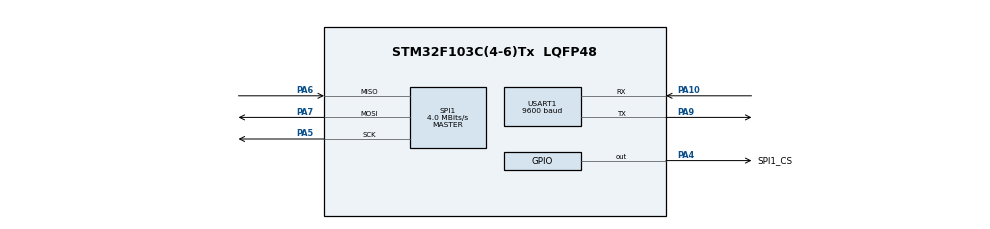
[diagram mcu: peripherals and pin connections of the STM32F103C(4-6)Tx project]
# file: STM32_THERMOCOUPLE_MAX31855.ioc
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Mcu.Family=STM32F1
Mcu.Name=STM32F103C(4-6)Tx
Mcu.Package=LQFP48
NVIC.PriorityGroup=NVIC_PRIORITYGROUP_4
PA10.Mode=Asynchronous
PA10.Signal=USART1_RX
PA4.GPIO_Label=SPI1_CS
PA4.Signal=GPIO_Output
PA5.Mode=Full_Duplex_Master
PA5.Signal=SPI1_SCK
PA6.Mode=Full_Duplex_Master
PA6.Signal=SPI1_MISO
PA7.Mode=Full_Duplex_Master
PA7.Signal=SPI1_MOSI
PA9.Mode=Asynchronous
PA9.Signal=USART1_TX
ProjectManager.HeapSize=0x200
ProjectManager.StackSize=0x400
ProjectManager.TargetToolchain=STM32CubeIDE
RCC.APB1Freq_Value=8000000
RCC.APB2Freq_Value=8000000
SPI1.CalculateBaudRate=4.0 MBits/s
SPI1.Direction=SPI_DIRECTION_2LINES
SPI1.Mode=SPI_MODE_MASTER
SPI1.VirtualType=VM_MASTER
USART1.BaudRate=9600
USART1.VirtualMode=VM_ASYNC
VP_SYS_VS_ND.Mode=No_Debug
board=custom

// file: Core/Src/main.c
/* USER CODE BEGIN Header */
/**
  ******************************************************************************
  * @file           : main.c
  * @brief          : Main program body
  ******************************************************************************
  * @attention
  *
  * Copyright (c) 2024 STMicroelectronics.
  * All rights reserved.
  *
  * This software is licensed under terms that can be found in the LICENSE file
  * in the root directory of this software component.
  * If no LICENSE file comes with this software, it is provided AS-IS.
  *
  ******************************************************************************
  */
/* USER CODE END Header */
#include "main.h"

/* USER CODE BEGIN Includes */
#include "Max31855.h"
#include<stdio.h>
#include<string.h>
#include <math.h>
/* USER CODE END Includes */

SPI_HandleTypeDef hspi1;

UART_HandleTypeDef huart1;

void SystemClock_Config(void);
static void MX_GPIO_Init(void);
static void MX_SPI1_Init(void);
static void MX_USART1_UART_Init(void);

int main(void)
{

  /* USER CODE BEGIN 1 */
  char MSG[100]="MAX31855 test\n\r";
  char MSG0[100]="Initializing sensor...\n\r";
  char MSG1[100]="ERROR\n\r";
  char MSG2[100]="DON. \n\r ";
  char MSG3[100]="Thermocouple fault(s) detected!\n\r";
  char MSG4[100]="FAULT: Thermocouple is open - no connections.\n\r";
  char MSG5[100]="FAULT: Thermocouple is short-circuited to GND.\n\r";
  char MSG6[100]="FAULT: Thermocouple is short-circuited to VCC.\n\r";
  char MSG7[100];
  char MSG8[100];
  char MSG9[100]="$$***************************************$$\n\r";
  char MSG10[100];
  /* USER CODE END 1 */

  /* MCU Configuration--------------------------------------------------------*/

  /* Reset of all peripherals, Initializes the Flash interface and the Systick. */
  HAL_Init();

  /* Configure the system clock */
  SystemClock_Config();

  /* Initialize all configured peripherals */
  MX_GPIO_Init();
  MX_SPI1_Init();
  MX_USART1_UART_Init();
  /* USER CODE BEGIN 2 */
  HAL_UART_Transmit(&huart1,(uint8_t*)MSG,sizeof(MSG), 100);
  HAL_UART_Transmit(&huart1,(uint8_t*)MSG0,sizeof(MSG0), 100);
  if (!begin()) {
  HAL_UART_Transmit(&huart1,(uint8_t*)MSG1,sizeof(MSG1), 100);
  while (1) HAL_Delay(10);
  }
  HAL_UART_Transmit(&huart1,(uint8_t*)MSG2,sizeof(MSG2), 100);
  /* USER CODE END 2 */

  /* Infinite loop */
  while (1)
  {

    /* USER CODE BEGIN 3 */
    sprintf(MSG10,"Internal Temp = %f \n\r",readInternal());
    HAL_UART_Transmit(&huart1,(uint8_t*)MSG10, sizeof(MSG10), 100);
    double c = readCelsius();
    if (!isnan(c)) {
        sprintf(MSG7,"C = %f \n\r",c);
        HAL_UART_Transmit(&huart1,(uint8_t*)MSG7, sizeof(MSG7), 100);
        sprintf(MSG8,"F = %f \n\r",readFahrenheit());
        HAL_UART_Transmit(&huart1,(uint8_t*)MSG8, sizeof(MSG8), 100);
        HAL_UART_Transmit(&huart1,(uint8_t*)MSG9, sizeof(MSG9), 100);
        HAL_Delay(1000);
    }
    else
    {
      HAL_UART_Transmit(&huart1,(uint8_t*) MSG3, sizeof(MSG3), 100);
      uint8_t e = readError();
      if (e & MAX31855_FAULT_OPEN)      HAL_UART_Transmit(&huart1, (uint8_t*) MSG4, sizeof(MSG4), 100);
      if (e & MAX31855_FAULT_SHORT_GND) HAL_UART_Transmit(&huart1, (uint8_t*) MSG5, sizeof(MSG5), 100);
      if (e & MAX31855_FAULT_SHORT_VCC) HAL_UART_Transmit(&huart1, (uint8_t*) MSG6, sizeof(MSG6), 100);
  }
  }
  /* USER CODE END 3 */
}

void SystemClock_Config(void)
{
  RCC_OscInitTypeDef RCC_OscInitStruct = {0};
  RCC_ClkInitTypeDef RCC_ClkInitStruct = {0};

  /** Initializes the RCC Oscillators according to the specified parameters
  * in the RCC_OscInitTypeDef structure.
  */
  RCC_OscInitStruct.OscillatorType = RCC_OSCILLATORTYPE_HSI;
  RCC_OscInitStruct.HSIState = RCC_HSI_ON;
  RCC_OscInitStruct.HSICalibrationValue = RCC_HSICALIBRATION_DEFAULT;
  RCC_OscInitStruct.PLL.PLLState = RCC_PLL_NONE;
  if (HAL_RCC_OscConfig(&RCC_OscInitStruct) != HAL_OK)
  {
    Error_Handler();
  }

  /** Initializes the CPU, AHB and APB buses clocks
  */
  RCC_ClkInitStruct.ClockType = RCC_CLOCKTYPE_HCLK|RCC_CLOCKTYPE_SYSCLK
                              |RCC_CLOCKTYPE_PCLK1|RCC_CLOCKTYPE_PCLK2;
  RCC_ClkInitStruct.SYSCLKSource = RCC_SYSCLKSOURCE_HSI;
  RCC_ClkInitStruct.AHBCLKDivider = RCC_SYSCLK_DIV1;
  RCC_ClkInitStruct.APB1CLKDivider = RCC_HCLK_DIV1;
  RCC_ClkInitStruct.APB2CLKDivider = RCC_HCLK_DIV1;

  if (HAL_RCC_ClockConfig(&RCC_ClkInitStruct, FLASH_LATENCY_0) != HAL_OK)
  {
    Error_Handler();
  }
}

static void MX_SPI1_Init(void)
{

  /* SPI1 parameter configuration*/
  hspi1.Instance = SPI1;
  hspi1.Init.Mode = SPI_MODE_MASTER;
  hspi1.Init.Direction = SPI_DIRECTION_2LINES;
  hspi1.Init.DataSize = SPI_DATASIZE_8BIT;
  hspi1.Init.CLKPolarity = SPI_POLARITY_LOW;
  hspi1.Init.CLKPhase = SPI_PHASE_1EDGE;
  hspi1.Init.NSS = SPI_NSS_SOFT;
  hspi1.Init.BaudRatePrescaler = SPI_BAUDRATEPRESCALER_2;
  hspi1.Init.FirstBit = SPI_FIRSTBIT_MSB;
  hspi1.Init.TIMode = SPI_TIMODE_DISABLE;
  hspi1.Init.CRCCalculation = SPI_CRCCALCULATION_DISABLE;
  hspi1.Init.CRCPolynomial = 10;
  if (HAL_SPI_Init(&hspi1) != HAL_OK)
  {
    Error_Handler();
  }

}

static void MX_USART1_UART_Init(void)
{

  huart1.Instance = USART1;
  huart1.Init.BaudRate = 9600;
  huart1.Init.WordLength = UART_WORDLENGTH_8B;
  huart1.Init.StopBits = UART_STOPBITS_1;
  huart1.Init.Parity = UART_PARITY_NONE;
  huart1.Init.Mode = UART_MODE_TX_RX;
  huart1.Init.HwFlowCtl = UART_HWCONTROL_NONE;
  huart1.Init.OverSampling = UART_OVERSAMPLING_16;
  if (HAL_UART_Init(&huart1) != HAL_OK)
  {
    Error_Handler();
  }

}

static void MX_GPIO_Init(void)
{
  GPIO_InitTypeDef GPIO_InitStruct = {0};

  /* GPIO Ports Clock Enable */
  __HAL_RCC_GPIOA_CLK_ENABLE();

  /*Configure GPIO pin Output Level */
  HAL_GPIO_WritePin(SPI1_CS_GPIO_Port, SPI1_CS_Pin, GPIO_PIN_RESET);

  /*Configure GPIO pin : SPI1_CS_Pin */
  GPIO_InitStruct.Pin = SPI1_CS_Pin;
  GPIO_InitStruct.Mode = GPIO_MODE_OUTPUT_PP;
  GPIO_InitStruct.Pull = GPIO_NOPULL;
  GPIO_InitStruct.Speed = GPIO_SPEED_FREQ_LOW;
  HAL_GPIO_Init(SPI1_CS_GPIO_Port, &GPIO_InitStruct);

}

void Error_Handler(void)
{
  __disable_irq();
  while (1)
  {
  }
}
